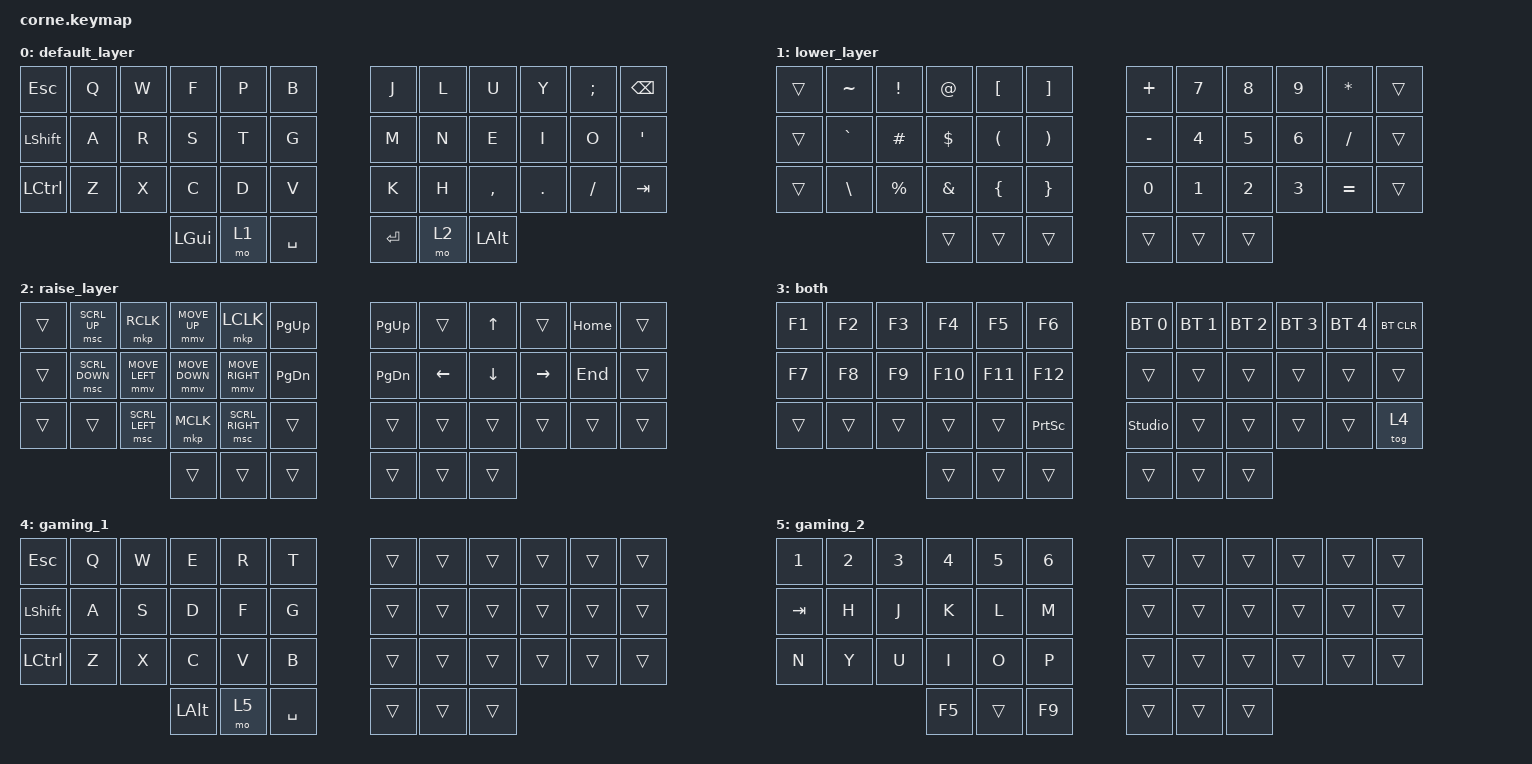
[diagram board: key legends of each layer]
/*
 * Copyright (c) 2020 The ZMK Contributors
 *
 * SPDX-License-Identifier: MIT
 */

#include <behaviors.dtsi>
#include <dt-bindings/zmk/bt.h>
#include <dt-bindings/zmk/keys.h>
#include <dt-bindings/zmk/pointing.h>

/ {
    combos {
        compatible = "zmk,combos";

        Del {
            bindings = <&kp DEL>;
            key-positions = <12 11>;
            layers = <0>;
        };

        vol_up {
            bindings = <&kp C_VOLUME_UP>;
            key-positions = <8 24>;
            layers = <2>;
        };

        vol_down {
            bindings = <&kp C_VOL_DN>;
            key-positions = <24 20>;
            layers = <2>;
        };

        next_track {
            bindings = <&kp C_NEXT>;
            key-positions = <24 21>;
            layers = <2>;
        };

        prev_track {
            bindings = <&kp C_PREVIOUS>;
            key-positions = <24 19>;
            layers = <2>;
        };

        play_pause {
            bindings = <&kp C_PLAY_PAUSE>;
            key-positions = <24 7>;
            layers = <2>;
        };

        mute {
            bindings = <&none>;
            key-positions = <24 9>;
            layers = <2>;
        };

        gaming_off {
            bindings = <&tog 4>;
            key-positions = <0 5 38>;
            layers = <4>;
        };
    };

    keymap {
        compatible = "zmk,keymap";

        default_layer {
            // -----------------------------------------------------------------------------------------
            // |  TAB |  Q  |  W  |  E  |  R  |  T  |   |  Y  |  U   |  I  |  O  |  P  | BSPC |
            // | SHFT |  A  |  S  |  D  |  F  |  G  |   |  H  |  J   |  K  |  L  |  ;  | ENTR |
            // | CTRL |  Z  |  X  |  C  |  V  |  B  |   |  N  |  M   | ./, | '/" |  /* | EQU |
            //                    | GUI | LWR | SPC |   | SPC | L2   | L1  |

            bindings = <
&kp ESCAPE      &kp Q  &kp W  &kp F     &kp P  &kp B        &kp J      &kp L  &kp U         &kp Y    &kp SEMI  &kp BSPC
&kp LEFT_SHIFT  &kp A  &kp R  &kp S     &kp T  &kp G        &kp M      &kp N  &kp E         &kp I    &kp O     &kp APOS
&kp LCTRL       &kp Z  &kp X  &kp C     &kp D  &kp V        &kp K      &kp H  &kp COMMA     &kp DOT  &kp FSLH  &kp TAB
                              &kp LGUI  &mo 1  &kp SPACE    &kp ENTER  &mo 2  &kp LEFT_ALT
            >;
        };

        lower_layer {
            // -----------------------------------------------------------------------------------------
            // | SYSR |     |     |     |     |     |   |     |  1  |  2  |  3  |  0  |      |
            // |      |     |     | UP  |     |     |   |     |  4  |  5  |  6  |     |      |
            // |      |     | LFT | DWN | RGT |     |   |     |  7  |  8  |  9  |     |      |
            //                    |     |     | SPC |   | SPC |     |     |

            bindings = <
&trans  &kp TILDE      &kp EXCL     &kp AT      &kp LEFT_BRACKET      &kp RIGHT_BRACKET        &kp PLUS   &kp N7        &kp N8        &kp N9        &kp ASTRK  &trans
&trans  &kp GRAVE      &kp HASH     &kp DOLLAR  &kp LEFT_PARENTHESIS  &kp RIGHT_PARENTHESIS    &kp MINUS  &kp NUMBER_4  &kp NUMBER_5  &kp NUMBER_6  &kp SLASH  &trans
&trans  &kp BACKSLASH  &kp PERCENT  &kp AMPS    &kp LEFT_BRACE        &kp RIGHT_BRACE          &kp N0     &kp N1        &kp N2        &kp N3        &kp EQUAL  &trans
                                    &trans      &trans                &trans                   &trans     &trans        &trans
            >;
        };

        raise_layer {
            bindings = <
&trans  &msc SCRL_UP    &mkp RCLK       &mmv MOVE_UP    &mkp LCLK        &kp PAGE_UP      &kp PAGE_UP    &trans          &kp UP_ARROW    &trans     &kp HOME  &trans
&trans  &msc SCRL_DOWN  &mmv MOVE_LEFT  &mmv MOVE_DOWN  &mmv MOVE_RIGHT  &kp PAGE_DOWN    &kp PAGE_DOWN  &kp LEFT_ARROW  &kp DOWN_ARROW  &kp RIGHT  &kp END   &trans
&trans  &trans          &msc SCRL_LEFT  &mkp MCLK       &msc SCRL_RIGHT  &trans           &trans         &trans          &trans          &trans     &trans    &trans
                                        &trans          &trans           &trans           &trans         &trans          &trans
            >;
        };

        both {
            bindings = <
&kp F1  &kp F2  &kp F3  &kp F4   &kp F5   &kp F6             &bt BT_SEL 0    &bt BT_SEL 1  &bt BT_SEL 2  &bt BT_SEL 3  &bt BT_SEL 4  &bt BT_CLR
&kp F7  &kp F8  &kp F9  &kp F10  &kp F11  &kp F12            &trans          &trans        &trans        &trans        &trans        &trans
&trans  &trans  &trans  &trans   &trans   &kp PRINTSCREEN    &studio_unlock  &trans        &trans        &trans        &trans        &tog 4
                        &trans   &trans   &trans             &trans          &trans        &trans
            >;
        };

        gaming_1 {
            bindings = <
&kp ESC    &kp Q  &kp W  &kp E         &kp R  &kp T        &trans  &trans  &trans  &trans  &trans  &trans
&kp LSHFT  &kp A  &kp S  &kp D         &kp F  &kp G        &trans  &trans  &trans  &trans  &trans  &trans
&kp LCTRL  &kp Z  &kp X  &kp C         &kp V  &kp B        &trans  &trans  &trans  &trans  &trans  &trans
                         &kp LEFT_ALT  &mo 5  &kp SPACE    &trans  &trans  &trans
            >;
        };

        gaming_2 {
            bindings = <
&kp N1   &kp N2  &kp N3  &kp N4  &kp N5  &kp N6    &trans  &trans  &trans  &trans  &trans  &trans
&kp TAB  &kp H   &kp J   &kp K   &kp L   &kp M     &trans  &trans  &trans  &trans  &trans  &trans
&kp N    &kp Y   &kp U   &kp I   &kp O   &kp P     &trans  &trans  &trans  &trans  &trans  &trans
                         &kp F5  &trans  &kp F9    &trans  &trans  &trans
            >;
        };
    };

    conditional_layers {
        compatible = "zmk,conditional-layers";

        both {
            if-layers = <1 2>;
            then-layer = <3>;
        };
    };
};

//For new Layers
// -----------------------------------------------------------------------------------------
// |      |     |     |     |     |     |   |     |     |     |     |     |      |
// |      |     |     |     |     |     |   |     |     |     |     |     |      |
// |      |     |     |     |     |     |   |     |     |     |     |     |      |
//                    |     |     |     |   |     |     |     |
